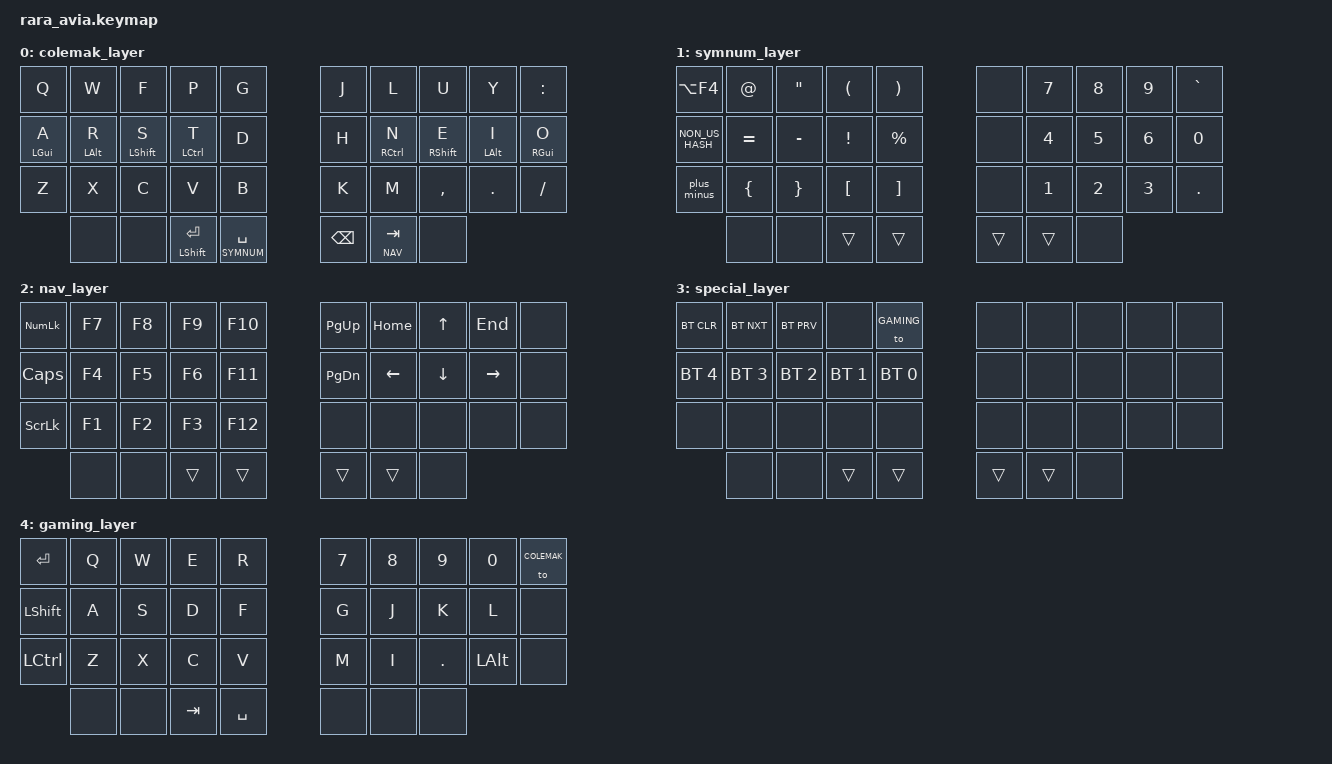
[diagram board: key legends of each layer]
/*
 * rara_avia keymap — Colemak base with home-row mods, tri-layer and combos,
 * adapted from the reference keymap.
 *
 * Transform / combo position map (see rara_avia.overlay):
 *
 *   0-4   L1..L5    Q  W  F  P  G       5-9   R1..R5    J  L  U  Y  :
 *   10-14 L6..L10   A  R  S  T  D       15-19 R6..R10   H  N  E  I  O
 *   20-24 L11..L15  Z  X  C  V  B       25-29 R11..R15  K  M  ,  .  /
 *   30    ENC1  encoder push (A/B unwired, so &none on every layer)
 *   31-33 L16 L17 L18                   34-36 R16 R17 R18
 *         Outer thumbs L16 (31) and R18 (36) are the two &none slots.
 *
 * vs. the reference: positions 0-29 are identical, and the six reference thumb
 * positions 30-35 land on 31-36 because ENC1 occupies 30. Only combo_dquotes
 * referenced a thumb, so only its second position moved.
 *
 * Dropped from the reference because this board has no such hardware/behaviors:
 * RGB (col 5-9 of SPECIAL), &aim, anti-idle, &inc_dec_kp sensor bindings
 * (encoder A/B not wired yet).
 */

#include <behaviors.dtsi>
#include <dt-bindings/zmk/bt.h>
#include <dt-bindings/zmk/keys.h>

// Layer Definitions

#define COLEMAK 0
#define SYMNUM 1
#define NAV 2
#define SPECIAL 3
#define GAMING 4

/ {
    // --- Combos ---

    combos {
        compatible = "zmk,combos";

        combo_esc {
            timeout-ms = <40>;
            key-positions = <1 2>;
            bindings = <&kp ESC>;
        };

        combo_underscore {
            timeout-ms = <35>;
            key-positions = <12 13>;
            bindings = <&kp UNDER>;
        };

        combo_quote {
            timeout-ms = <35>;
            key-positions = <17 18>;
            bindings = <&kp SQT>;
        };

        combo_del {
            timeout-ms = <40>;
            key-positions = <10 11>;
            bindings = <&kp DEL>;
        };

        combo_bslsh {
            timeout-ms = <40>;
            key-positions = <7 8>;
            bindings = <&kp NON_US_BSLH>;
        };

        combo_caps {
            timeout-ms = <40>;
            key-positions = <12 17>;
            bindings = <&caps_word>;
        };

        combo_rbrkt {
            bindings = <&kp RIGHT_BRACKET>;
            key-positions = <23 24>;
        };

        combo_lbrkt {
            bindings = <&kp LEFT_BRACKET>;
            key-positions = <23 22>;
        };

        combo_semicolon {
            bindings = <&kp SEMICOLON>;
            key-positions = <9 8>;
        };

        combo_rpar {
            bindings = <&kp RIGHT_PARENTHESIS>;
            key-positions = <3 4>;
        };

        combo_lpar {
            bindings = <&kp LEFT_PARENTHESIS>;
            key-positions = <3 2>;
        };

        // F + SPACE thumb (position 33 = L18), as in the reference's <2 31>
        combo_dquotes {
            bindings = <&kp AT>;
            key-positions = <2 33>;
        };

        combo_tmux {
            bindings = <&kp LC(B)>;
            key-positions = <13 24>;
        };

        combo_minus {
            bindings = <&kp MINUS>;
            key-positions = <2 12>;
        };

        combo_exclm {
            bindings = <&kp EXCLAMATION>;
            key-positions = <3 13>;
        };

        combo_eq {
            bindings = <&kp EQUAL>;
            key-positions = <1 11>;
        };

        combo_lbrc {
            bindings = <&kp LEFT_BRACE>;
            key-positions = <20 21>;
        };

        combo_rbrc {
            bindings = <&kp RIGHT_BRACE>;
            key-positions = <21 22>;
        };
    };

    // --- Conditional Layers (Tri Layer) ---

    conditional_layers {
        compatible = "zmk,conditional-layers";

        tri_layer {
            if-layers = <SYMNUM NAV>;
            then-layer = <SPECIAL>;
        };
    };

    // --- Custom Behaviors ---

    behaviors {
        hm: homerow_mods {
            compatible = "zmk,behavior-hold-tap";
            #binding-cells = <2>;
            tapping-term-ms = <220>;
            quick-tap-ms = <125>;
            flavor = "tap-preferred";
            bindings = <&kp>, <&kp>;
        };
    };

    // --- Macros ---

    macros {
        plus_minus: plus_minus {
            compatible = "zmk,behavior-macro";
            #binding-cells = <0>;
            bindings =
                <&macro_press>,
                <&kp LALT>,
                <&macro_tap>,
                <&kp KP_NUMBER_2 &kp KP_NUMBER_4 &kp KP_NUMBER_1>,
                <&macro_release>,
                <&kp LEFT_ALT>;
        };
    };

    // --- Keymap ---

    keymap {
        compatible = "zmk,keymap";

        // Layer 0: Colemak Base Layer

        colemak_layer {
            bindings = <
  &kp Q       &kp W       &kp F             &kp P        &kp G      &kp J        &kp L          &kp U        &kp Y       &kp COLON
  &hm LGUI A  &hm LALT R  &hm LSHFT S       &hm LCTRL T  &kp D      &kp H        &hm RCTRL N    &hm RSHFT E  &hm LALT I  &hm RGUI O
  &kp Z       &kp X       &kp C             &kp V        &kp B      &kp K        &kp M          &kp COMMA    &kp DOT     &kp FSLH
  &none  &none  &mt LSHIFT ENTER  &lt SYMNUM SPACE  &kp BACKSPACE  &lt NAV TAB  &none
            >;
        };

        // Layer 1: Symbols & Numbers

        symnum_layer {
            bindings = <
  &kp LA(F4)       &kp AT     &kp DQT    &kp LPAR  &kp RPAR     &none  &kp N7  &kp N8  &kp N9  &kp GRAVE
  &kp NON_US_HASH  &kp EQUAL  &kp MINUS  &kp EXCL  &kp PRCNT    &none  &kp N4  &kp N5  &kp N6  &kp N0
  &plus_minus      &kp LBRC   &kp RBRC   &kp LBKT  &kp RBKT     &none  &kp N1  &kp N2  &kp N3  &kp DOT
  &none  &none  &trans  &trans  &trans  &trans  &none
            >;
        };

        // Layer 2: Navigation & Function Keys

        nav_layer {
            bindings = <
  &kp KP_NUMLOCK  &kp F7  &kp F8  &kp F9  &kp F10    &kp PG_UP  &kp HOME  &kp UP    &kp END    &none
  &kp CAPS        &kp F4  &kp F5  &kp F6  &kp F11    &kp PG_DN  &kp LEFT  &kp DOWN  &kp RIGHT  &none
  &kp SCROLLLOCK  &kp F1  &kp F2  &kp F3  &kp F12    &none      &none     &none     &none      &none
  &none  &none  &trans  &trans  &trans  &trans  &none
            >;
        };

        // Layer 3: Special Keys (Activated by SYMNUM + NAV)
        // The reference's RGB block and &aim have no hardware behind them here;
        // those slots are &none. Good candidates if you want them back:
        // &out OUT_USB / &out OUT_BLE / &sys_reset / &bootloader / &studio_unlock

        special_layer {
            bindings = <
  &bt BT_CLR    &bt BT_NXT    &bt BT_PRV    &none         &to GAMING      &none            &none            &none            &none            &none
  &bt BT_SEL 4  &bt BT_SEL 3  &bt BT_SEL 2  &bt BT_SEL 1  &bt BT_SEL 0    &none            &none            &none            &none            &none
  &none         &none         &none         &none         &none           &none            &none            &none            &none            &none
  &none  &none  &trans  &trans  &trans  &trans  &none
            >;
        };

        // Layer 4: Gaming Layer

        gaming_layer {
            bindings = <
  &kp ENTER  &kp Q  &kp W    &kp E      &kp R    &kp N7  &kp N8  &kp N9   &kp N0    &to COLEMAK
  &kp LSHFT  &kp A  &kp S    &kp D      &kp F    &kp G   &kp J   &kp K    &kp L     &none
  &kp LCTRL  &kp Z  &kp X    &kp C      &kp V    &kp M   &kp I   &kp DOT  &kp LALT  &none
  &none  &none  &kp TAB  &kp SPACE  &none  &none  &none
            >;
        };
    };
};
